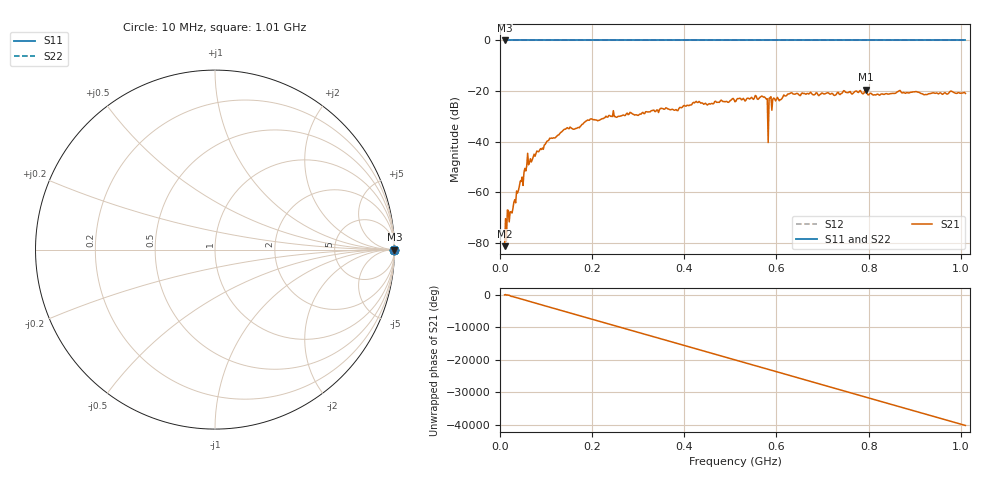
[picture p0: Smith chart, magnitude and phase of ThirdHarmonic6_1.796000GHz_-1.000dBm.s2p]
! 8/16/2025 9:44:12 PM
! C:\ANRITSUVNA\TEMP\TEMP.S2P
! CHANNEL.1
! TR.MEASUREMENT
! RAW.DATA
! RF.CORRECTION.OFF
! AVERAGING.OFF
! IF.BANDWIDTH: 5KHZ
! SWEEPTYPE:  FREQ.SWEEP(Linear)
! Reference Plane Port Info
! PORT:  PORT1  PORT2
! DISTANCE:  0  m  0  m
! TIME:  0  s  0  s
! PHASE.OFFSET:  0  deg.  0  deg.
! LOSS:  0  dB  0  dB
! REF.LOSS:  0  dB  0  dB
! REF.FREQ:  0  Hz  0  Hz
! Power Info
! POWER:  -20  dBm  -20  dBm
! EFF.POWER:  -20  dBm  -20  dBm
! SOURCE.ATTEN:  0  dB  0  dB
! TEST.ATTEN:  0  dB  0  dB
# GHZ S RI R 50.0
! FREQ.GHZ  S11RE  S11IM  S21RE  S21IM  S12RE  S12IM  S22RE  S22IM
!; PortSelection: Port_12
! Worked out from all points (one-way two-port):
!   501 points, 10 MHz to 1.01 GHz, reference 50 ohm
!   highest |S21| = -19.43 dB at 794 MHz (marker M1); lowest = -81.2 dB at 10 MHz (marker M2)
!   lowest |S11| = 0.0 dB at 10 MHz (marker M3)
!   |S11| at or under -10 dB: nowhere
!   |S22| runs from 0.0 to 0.0 dB; largest |S21 - S12| = 1.1
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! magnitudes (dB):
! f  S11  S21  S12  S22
! 10 MHz  0.0  -81.2  0.0  0.0
! 14 MHz  0.0  -79.1  0.0  0.0
! 20 MHz  0.0  -71.6  0.0  0.0
! 24 MHz  0.0  -67.8  0.0  0.0
! 56 MHz  0.0  -51.5  0.0  0.0
! 62 MHz  0.0  -49.1  0.0  0.0
! 108 MHz  0.0  -38.6  0.0  0.0
! 142 MHz  0.0  -35.1  0.0  0.0
! 178 MHz  0.0  -33.1  0.0  0.0
! 242 MHz  0.0  -30.0  0.0  0.0
! 344 MHz  0.0  -28.5  0.0  0.0
! 510 MHz  0.0  -24.2  0.0  0.0
! 570 MHz  0.0  -22.1  0.0  0.0
! 576 MHz  0.0  -22.7  0.0  0.0
! 578 MHz  0.0  -23.1  0.0  0.0
! 586 MHz  0.0  -22.6  0.0  0.0
! 588 MHz  0.0  -22.2  0.0  0.0
! 628 MHz  0.0  -21.1  0.0  0.0
! 678 MHz  0.0  -21.3  0.0  0.0
! 794 MHz  0.0  -19.4  0.0  0.0
! 844 MHz  0.0  -21.2  0.0  0.0
! 1.01 GHz  0.0  -20.9  0.0  0.0
